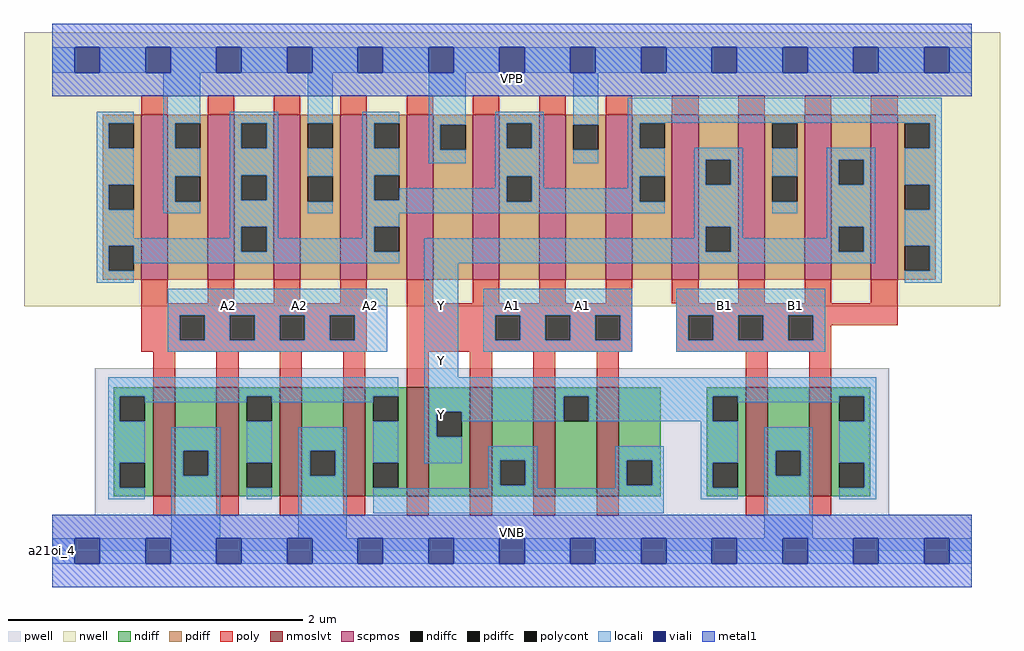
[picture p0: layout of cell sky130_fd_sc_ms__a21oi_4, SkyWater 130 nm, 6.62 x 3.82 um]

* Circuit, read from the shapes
.subckt sky130_fd_sc_ms__a21oi_4 A1 A2 B1 VGND VNB VPB VPWR Y
XM1 VGND A2 n1 VNB sky130_fd_pr__nfet_01v8_lvt w=0.74 l=0.15 m=4
XM2 Y A1 n1 VNB sky130_fd_pr__nfet_01v8_lvt w=0.74 l=0.15 m=4
XM3 VGND B1 Y VNB sky130_fd_pr__nfet_01v8_lvt w=0.74 l=0.15 m=2
XM4 VPWR A2 n2 VPB sky130_fd_pr__pfet_01v8 w=1.12 l=0.18 m=4
XM5 VPWR A1 n2 VPB sky130_fd_pr__pfet_01v8 w=1.12 l=0.18 m=4
XM6 Y B1 n2 VPB sky130_fd_pr__pfet_01v8 w=1.12 l=0.18 m=4
.ends

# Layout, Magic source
magic
tech sky130A
magscale 1 2
<< nwell >>
rect -38 332 1286 704
<< pwell >>
rect 58 49 1136 248
rect 0 0 1248 49
<< scpmos >>
rect 121 368 157 592
rect 211 368 247 592
rect 301 368 337 592
rect 391 368 427 592
rect 481 368 517 592
rect 571 368 607 592
rect 661 368 697 592
rect 751 368 787 592
rect 841 368 877 592
rect 931 368 967 592
rect 1021 368 1057 592
rect 1111 368 1147 592
<< nmoslvt >>
rect 137 74 167 222
rect 223 74 253 222
rect 309 74 339 222
rect 395 74 425 222
rect 481 74 511 222
rect 567 74 597 222
rect 653 74 683 222
rect 739 74 769 222
rect 941 74 971 222
rect 1027 74 1057 222
<< ndiff >>
rect 84 210 137 222
rect 84 176 92 210
rect 126 176 137 210
rect 84 120 137 176
rect 84 86 92 120
rect 126 86 137 120
rect 84 74 137 86
rect 167 136 223 222
rect 167 102 178 136
rect 212 102 223 136
rect 167 74 223 102
rect 253 210 309 222
rect 253 176 264 210
rect 298 176 309 210
rect 253 120 309 176
rect 253 86 264 120
rect 298 86 309 120
rect 253 74 309 86
rect 339 136 395 222
rect 339 102 350 136
rect 384 102 395 136
rect 339 74 395 102
rect 425 210 481 222
rect 425 176 436 210
rect 470 176 481 210
rect 425 120 481 176
rect 425 86 436 120
rect 470 86 481 120
rect 425 74 481 86
rect 511 189 567 222
rect 511 155 522 189
rect 556 155 567 189
rect 511 74 567 155
rect 597 123 653 222
rect 597 89 608 123
rect 642 89 653 123
rect 597 74 653 89
rect 683 210 739 222
rect 683 176 694 210
rect 728 176 739 210
rect 683 74 739 176
rect 769 123 826 222
rect 769 89 780 123
rect 814 89 826 123
rect 769 74 826 89
rect 888 210 941 222
rect 888 176 896 210
rect 930 176 941 210
rect 888 120 941 176
rect 888 86 896 120
rect 930 86 941 120
rect 888 74 941 86
rect 971 136 1027 222
rect 971 102 982 136
rect 1016 102 1027 136
rect 971 74 1027 102
rect 1057 210 1110 222
rect 1057 176 1068 210
rect 1102 176 1110 210
rect 1057 120 1110 176
rect 1057 86 1068 120
rect 1102 86 1110 120
rect 1057 74 1110 86
<< pdiff >>
rect 69 580 121 592
rect 69 546 77 580
rect 111 546 121 580
rect 69 497 121 546
rect 69 463 77 497
rect 111 463 121 497
rect 69 414 121 463
rect 69 380 77 414
rect 111 380 121 414
rect 69 368 121 380
rect 157 580 211 592
rect 157 546 167 580
rect 201 546 211 580
rect 157 508 211 546
rect 157 474 167 508
rect 201 474 211 508
rect 157 368 211 474
rect 247 580 301 592
rect 247 546 257 580
rect 291 546 301 580
rect 247 510 301 546
rect 247 476 257 510
rect 291 476 301 510
rect 247 440 301 476
rect 247 406 257 440
rect 291 406 301 440
rect 247 368 301 406
rect 337 580 391 592
rect 337 546 347 580
rect 381 546 391 580
rect 337 508 391 546
rect 337 474 347 508
rect 381 474 391 508
rect 337 368 391 474
rect 427 580 481 592
rect 427 546 437 580
rect 471 546 481 580
rect 427 510 481 546
rect 427 476 437 510
rect 471 476 481 510
rect 427 440 481 476
rect 427 406 437 440
rect 471 406 481 440
rect 427 368 481 406
rect 517 578 571 592
rect 517 544 527 578
rect 561 544 571 578
rect 517 368 571 544
rect 607 580 661 592
rect 607 546 617 580
rect 651 546 661 580
rect 607 508 661 546
rect 607 474 617 508
rect 651 474 661 508
rect 607 368 661 474
rect 697 578 751 592
rect 697 544 707 578
rect 741 544 751 578
rect 697 368 751 544
rect 787 580 841 592
rect 787 546 797 580
rect 831 546 841 580
rect 787 508 841 546
rect 787 474 797 508
rect 831 474 841 508
rect 787 368 841 474
rect 877 531 931 592
rect 877 497 887 531
rect 921 497 931 531
rect 877 440 931 497
rect 877 406 887 440
rect 921 406 931 440
rect 877 368 931 406
rect 967 580 1021 592
rect 967 546 977 580
rect 1011 546 1021 580
rect 967 508 1021 546
rect 967 474 977 508
rect 1011 474 1021 508
rect 967 368 1021 474
rect 1057 531 1111 592
rect 1057 497 1067 531
rect 1101 497 1111 531
rect 1057 440 1111 497
rect 1057 406 1067 440
rect 1101 406 1111 440
rect 1057 368 1111 406
rect 1147 580 1199 592
rect 1147 546 1157 580
rect 1191 546 1199 580
rect 1147 497 1199 546
rect 1147 463 1157 497
rect 1191 463 1199 497
rect 1147 414 1199 463
rect 1147 380 1157 414
rect 1191 380 1199 414
rect 1147 368 1199 380
<< ndiffc >>
rect 92 176 126 210
rect 92 86 126 120
rect 178 102 212 136
rect 264 176 298 210
rect 264 86 298 120
rect 350 102 384 136
rect 436 176 470 210
rect 436 86 470 120
rect 522 155 556 189
rect 608 89 642 123
rect 694 176 728 210
rect 780 89 814 123
rect 896 176 930 210
rect 896 86 930 120
rect 982 102 1016 136
rect 1068 176 1102 210
rect 1068 86 1102 120
<< pdiffc >>
rect 77 546 111 580
rect 77 463 111 497
rect 77 380 111 414
rect 167 546 201 580
rect 167 474 201 508
rect 257 546 291 580
rect 257 476 291 510
rect 257 406 291 440
rect 347 546 381 580
rect 347 474 381 508
rect 437 546 471 580
rect 437 476 471 510
rect 437 406 471 440
rect 527 544 561 578
rect 617 546 651 580
rect 617 474 651 508
rect 707 544 741 578
rect 797 546 831 580
rect 797 474 831 508
rect 887 497 921 531
rect 887 406 921 440
rect 977 546 1011 580
rect 977 474 1011 508
rect 1067 497 1101 531
rect 1067 406 1101 440
rect 1157 546 1191 580
rect 1157 463 1191 497
rect 1157 380 1191 414
<< poly >>
rect 121 592 157 618
rect 211 592 247 618
rect 301 592 337 618
rect 391 592 427 618
rect 481 592 517 618
rect 571 592 607 618
rect 661 592 697 618
rect 751 592 787 618
rect 841 592 877 618
rect 931 592 967 618
rect 1021 592 1057 618
rect 1111 592 1147 618
rect 121 336 157 368
rect 211 336 247 368
rect 301 336 337 368
rect 391 336 427 368
rect 121 320 427 336
rect 121 286 173 320
rect 207 286 241 320
rect 275 286 309 320
rect 343 286 377 320
rect 411 286 427 320
rect 121 270 427 286
rect 481 336 517 368
rect 571 336 607 368
rect 661 336 697 368
rect 751 336 787 368
rect 841 336 877 368
rect 931 336 967 368
rect 1021 336 1057 368
rect 1111 336 1147 368
rect 481 320 787 336
rect 481 286 601 320
rect 635 286 669 320
rect 703 286 737 320
rect 771 286 787 320
rect 481 270 787 286
rect 847 320 1147 336
rect 847 286 863 320
rect 897 286 931 320
rect 965 286 999 320
rect 1033 306 1147 320
rect 1033 286 1057 306
rect 847 270 1057 286
rect 137 222 167 270
rect 223 222 253 270
rect 309 222 339 270
rect 395 222 425 270
rect 481 222 511 270
rect 567 222 597 270
rect 653 222 683 270
rect 739 222 769 270
rect 941 222 971 270
rect 1027 222 1057 270
rect 137 48 167 74
rect 223 48 253 74
rect 309 48 339 74
rect 395 48 425 74
rect 481 48 511 74
rect 567 48 597 74
rect 653 48 683 74
rect 739 48 769 74
rect 941 48 971 74
rect 1027 48 1057 74
<< polycont >>
rect 173 286 207 320
rect 241 286 275 320
rect 309 286 343 320
rect 377 286 411 320
rect 601 286 635 320
rect 669 286 703 320
rect 737 286 771 320
rect 863 286 897 320
rect 931 286 965 320
rect 999 286 1033 320
<< locali >>
rect 0 649 31 683
rect 65 649 127 683
rect 161 649 223 683
rect 257 649 319 683
rect 353 649 415 683
rect 449 649 511 683
rect 545 649 607 683
rect 641 649 703 683
rect 737 649 799 683
rect 833 649 895 683
rect 929 649 991 683
rect 1025 649 1087 683
rect 1121 649 1183 683
rect 1217 649 1248 683
rect 61 580 111 596
rect 61 546 77 580
rect 61 497 111 546
rect 61 463 77 497
rect 61 424 111 463
rect 151 580 201 649
rect 151 546 167 580
rect 151 508 201 546
rect 151 474 167 508
rect 151 458 201 474
rect 241 580 307 596
rect 241 546 257 580
rect 291 546 307 580
rect 241 510 307 546
rect 241 476 257 510
rect 291 476 307 510
rect 241 440 307 476
rect 347 580 381 649
rect 347 508 381 546
rect 347 458 381 474
rect 421 580 471 596
rect 421 546 437 580
rect 421 510 471 546
rect 511 578 561 649
rect 511 544 527 578
rect 511 526 561 544
rect 601 580 667 596
rect 601 546 617 580
rect 651 546 667 580
rect 421 476 437 510
rect 601 508 667 546
rect 707 578 741 649
rect 707 526 741 544
rect 781 581 1207 615
rect 781 580 831 581
rect 781 546 797 580
rect 977 580 1011 581
rect 601 492 617 508
rect 471 476 617 492
rect 421 474 617 476
rect 651 492 667 508
rect 781 508 831 546
rect 781 492 797 508
rect 651 474 797 492
rect 421 458 831 474
rect 871 531 937 547
rect 871 497 887 531
rect 921 497 937 531
rect 241 424 257 440
rect 61 414 257 424
rect 61 380 77 414
rect 111 406 257 414
rect 291 424 307 440
rect 421 440 471 458
rect 421 424 437 440
rect 291 406 437 424
rect 871 440 937 497
rect 1157 580 1207 581
rect 977 508 1011 546
rect 977 458 1011 474
rect 1051 531 1117 547
rect 1051 497 1067 531
rect 1101 497 1117 531
rect 871 424 887 440
rect 111 390 471 406
rect 505 406 887 424
rect 921 424 937 440
rect 1051 440 1117 497
rect 1051 424 1067 440
rect 921 406 1067 424
rect 1101 406 1117 440
rect 505 390 1117 406
rect 1191 546 1207 580
rect 1157 497 1207 546
rect 1191 463 1207 497
rect 1157 414 1207 463
rect 61 364 111 380
rect 157 320 455 356
rect 157 286 173 320
rect 207 286 241 320
rect 275 286 309 320
rect 343 286 377 320
rect 411 286 455 320
rect 157 270 455 286
rect 505 236 551 390
rect 1191 380 1207 414
rect 1157 364 1207 380
rect 585 320 787 356
rect 585 286 601 320
rect 635 286 669 320
rect 703 286 737 320
rect 771 286 787 320
rect 585 270 787 286
rect 847 320 1049 356
rect 847 286 863 320
rect 897 286 931 320
rect 965 286 999 320
rect 1033 286 1049 320
rect 847 270 1049 286
rect 76 210 470 236
rect 76 176 92 210
rect 126 202 264 210
rect 76 120 126 176
rect 298 202 436 210
rect 76 86 92 120
rect 76 70 126 86
rect 162 136 228 168
rect 162 102 178 136
rect 212 102 228 136
rect 162 17 228 102
rect 264 120 298 176
rect 264 70 298 86
rect 334 136 400 168
rect 334 102 350 136
rect 384 102 400 136
rect 334 17 400 102
rect 436 120 470 176
rect 505 210 1118 236
rect 505 189 694 210
rect 505 155 522 189
rect 556 176 694 189
rect 728 176 896 210
rect 930 202 1068 210
rect 505 119 556 155
rect 592 123 658 142
rect 436 85 470 86
rect 592 89 608 123
rect 642 89 658 123
rect 592 85 658 89
rect 764 123 830 142
rect 764 89 780 123
rect 814 89 830 123
rect 764 85 830 89
rect 436 51 830 85
rect 880 120 930 176
rect 1102 176 1118 210
rect 880 86 896 120
rect 880 70 930 86
rect 966 136 1032 168
rect 966 102 982 136
rect 1016 102 1032 136
rect 966 17 1032 102
rect 1068 120 1118 176
rect 1102 86 1118 120
rect 1068 70 1118 86
rect 0 -17 31 17
rect 65 -17 127 17
rect 161 -17 223 17
rect 257 -17 319 17
rect 353 -17 415 17
rect 449 -17 511 17
rect 545 -17 607 17
rect 641 -17 703 17
rect 737 -17 799 17
rect 833 -17 895 17
rect 929 -17 991 17
rect 1025 -17 1087 17
rect 1121 -17 1183 17
rect 1217 -17 1248 17
<< viali >>
rect 31 649 65 683
rect 127 649 161 683
rect 223 649 257 683
rect 319 649 353 683
rect 415 649 449 683
rect 511 649 545 683
rect 607 649 641 683
rect 703 649 737 683
rect 799 649 833 683
rect 895 649 929 683
rect 991 649 1025 683
rect 1087 649 1121 683
rect 1183 649 1217 683
rect 31 -17 65 17
rect 127 -17 161 17
rect 223 -17 257 17
rect 319 -17 353 17
rect 415 -17 449 17
rect 511 -17 545 17
rect 607 -17 641 17
rect 703 -17 737 17
rect 799 -17 833 17
rect 895 -17 929 17
rect 991 -17 1025 17
rect 1087 -17 1121 17
rect 1183 -17 1217 17
<< metal1 >>
rect 0 683 1248 715
rect 0 649 31 683
rect 65 649 127 683
rect 161 649 223 683
rect 257 649 319 683
rect 353 649 415 683
rect 449 649 511 683
rect 545 649 607 683
rect 641 649 703 683
rect 737 649 799 683
rect 833 649 895 683
rect 929 649 991 683
rect 1025 649 1087 683
rect 1121 649 1183 683
rect 1217 649 1248 683
rect 0 617 1248 649
rect 0 17 1248 49
rect 0 -17 31 17
rect 65 -17 127 17
rect 161 -17 223 17
rect 257 -17 319 17
rect 353 -17 415 17
rect 449 -17 511 17
rect 545 -17 607 17
rect 641 -17 703 17
rect 737 -17 799 17
rect 833 -17 895 17
rect 929 -17 991 17
rect 1025 -17 1087 17
rect 1121 -17 1183 17
rect 1217 -17 1248 17
rect 0 -49 1248 -17
<< labels >>
flabel pwell s 0 0 1248 49 0 FreeSans 200 0 0 0 VNB
port 5 nsew ground bidirectional
flabel nwell s 0 617 1248 666 0 FreeSans 200 0 0 0 VPB
port 6 nsew power bidirectional
rlabel comment s 0 0 0 0 4 a21oi_4
flabel metal1 s 0 617 1248 666 0 FreeSans 340 0 0 0 VPWR
port 7 nsew power bidirectional
flabel metal1 s 0 0 1248 49 0 FreeSans 340 0 0 0 VGND
port 4 nsew ground bidirectional
flabel locali s 511 168 545 202 0 FreeSans 340 0 0 0 Y
port 8 nsew signal output
flabel locali s 511 242 545 276 0 FreeSans 340 0 0 0 Y
port 8 nsew signal output
flabel locali s 511 316 545 350 0 FreeSans 340 0 0 0 Y
port 8 nsew signal output
flabel locali s 895 316 929 350 0 FreeSans 340 0 0 0 B1
port 3 nsew signal input
flabel locali s 991 316 1025 350 0 FreeSans 340 0 0 0 B1
port 3 nsew signal input
flabel locali s 223 316 257 350 0 FreeSans 340 0 0 0 A2
port 2 nsew signal input
flabel locali s 319 316 353 350 0 FreeSans 340 0 0 0 A2
port 2 nsew signal input
flabel locali s 415 316 449 350 0 FreeSans 340 0 0 0 A2
port 2 nsew signal input
flabel locali s 607 316 641 350 0 FreeSans 340 0 0 0 A1
port 1 nsew signal input
flabel locali s 703 316 737 350 0 FreeSans 340 0 0 0 A1
port 1 nsew signal input
<< properties >>
string LEFsite unit
string LEFclass CORE
string FIXED_BBOX 0 0 1248 666
string GDS_FILE $PDKPATH/libs.ref/sky130_fd_sc_ms/gds/sky130_fd_sc_ms.gds
string LEFsymmetry X Y
string GDS_END 2456186
string GDS_START 2446288
<< end >>
